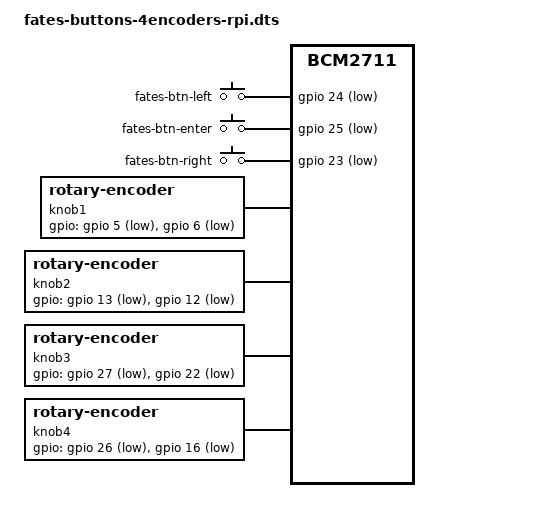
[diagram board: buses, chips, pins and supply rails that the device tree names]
/dts-v1/;
/plugin/;

/ {
    compatible = "brcm,bcm2835", "brcm,bcm2708", "brcm,bcm2709", "brcm,bcm2711";

    fragment@0 {
        target = <&gpio>;
        __overlay__ {
            knob1_pins: knob1_pins {
                brcm,pins = <5 6>;
                brcm,function = <0 0>;
                brcm,pull = <2 2>;
            };

            knob2_pins: knob2_pins {
                brcm,pins = <13 12>;
                brcm,function = <0 0>;
                brcm,pull = <2 2>;
            };

            knob3_pins: knob3_pins {
                brcm,pins = <27 22>;
                brcm,function = <0 0>;
                brcm,pull = <2 2>;
            };

            knob4_pins: knob4_pins {
                brcm,pins = <26 16>;
                brcm,function = <0 0>;
                brcm,pull = <2 2>;
            };

            button_pins: button_pins {
                brcm,pins = <24 25 23>;
                brcm,function = <0 0 0>;
                brcm,pull = <2 2 2>;
            };
        };
    };

    fragment@1 {
        target-path = "/soc";
        __overlay__ {
            knob1: knob1 {
                compatible = "rotary-encoder";
                pinctrl-names = "default";
                pinctrl-0 = <&knob1_pins>;
                gpios = <&gpio 5 1>, <&gpio 6 1>;
                linux,axis = <0>;
                rotary-encoder,relative-axis;
                rotary-encoder,half-period;
            };

            knob2: knob2 {
                compatible = "rotary-encoder";
                pinctrl-names = "default";
                pinctrl-0 = <&knob2_pins>;
                gpios = <&gpio 13 1>, <&gpio 12 1>;
                linux,axis = <0>;
                rotary-encoder,relative-axis;
                rotary-encoder,half-period;
            };

            knob3: knob3 {
                compatible = "rotary-encoder";
                pinctrl-names = "default";
                pinctrl-0 = <&knob3_pins>;
                gpios = <&gpio 27 1>, <&gpio 22 1>;
                linux,axis = <0>;
                rotary-encoder,relative-axis;
                rotary-encoder,half-period;
            };

            knob4: knob4 {
                compatible = "rotary-encoder";
                pinctrl-names = "default";
                pinctrl-0 = <&knob4_pins>;
                gpios = <&gpio 26 1>, <&gpio 16 1>;
                linux,axis = <0>;
                rotary-encoder,relative-axis;
                rotary-encoder,half-period;
            };
        };
    };

    fragment@2 {
        target-path = "/";
        __overlay__ {
            keys: keys {
                compatible = "gpio-keys";
                pinctrl-names = "default";
                pinctrl-0 = <&button_pins>;
                #address-cells = <1>;
                #size-cells = <0>;

                button@24 {
                    label = "fates-btn-left";
                    linux,code = <1>;
                    gpios = <&gpio 24 1>;
                    debounce-interval = <20>;
                };

                button@25 {
                    label = "fates-btn-enter";
                    linux,code = <2>;
                    gpios = <&gpio 25 1>;
                    debounce-interval = <20>;
                };

                button@23 {
                    label = "fates-btn-right";
                    linux,code = <3>;
                    gpios = <&gpio 23 1>;
                    debounce-interval = <20>;
                };
            };
        };
    };
};
